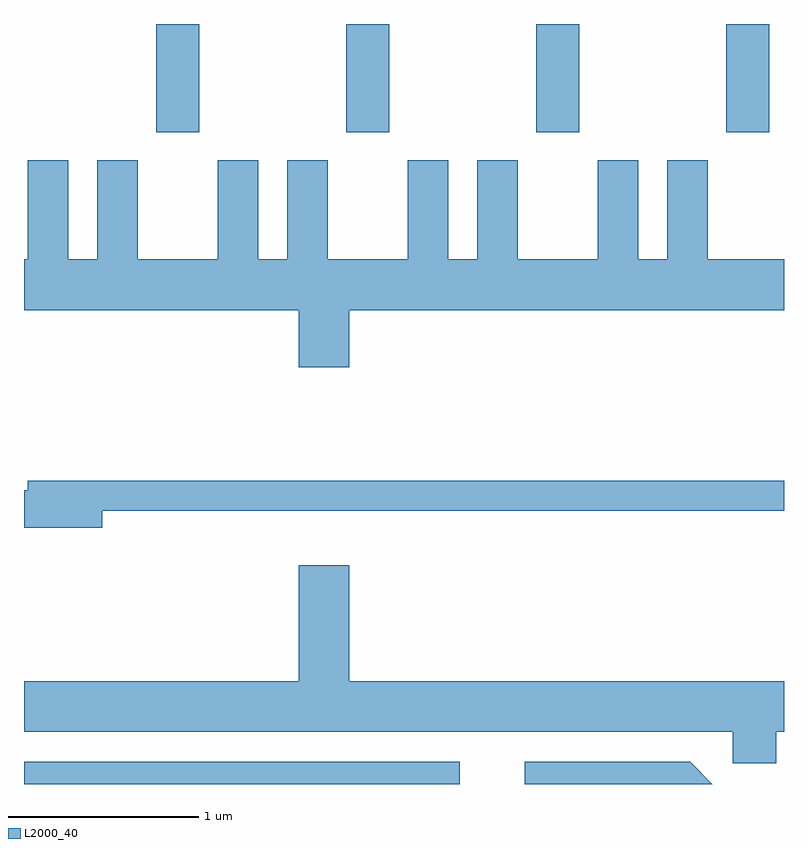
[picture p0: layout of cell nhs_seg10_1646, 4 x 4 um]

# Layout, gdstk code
import gdstk
lib = gdstk.Library(unit=1e-6, precision=1e-09)
def R(c, l, rs):  # rectangles x0, y0, x1, y1
    for r in rs: c.add(gdstk.rectangle(r[:2], r[2:], *l))
def A(c, l, x, y, w, h, nx, ny, dx, dy):  # array of equal rectangles
    R(c, l, [(x+i*dx, y+j*dy, x+i*dx+w, y+j*dy+h) for i in range(nx) for j in range(ny)])
def P(c, l, *ps):  # polygons
    for p in ps: c.add(gdstk.Polygon(p, *l))
L2000_40 = (2000, 40)

nhs_seg10_1646 = lib.new_cell('nhs_seg10_1646')
A(nhs_seg10_1646, L2000_40, 234.306, 2125.951, 0.228, 0.571, 4, 1, 1, 0)
R(nhs_seg10_1646, L2000_40, [(233.611,2122.522,235.904,2122.639)])
P(nhs_seg10_1646, L2000_40, [(235.324,2125.016),(237.611,2125.016),(237.611,2125.284),(237.209,2125.284),(237.209,2125.804),(236.996,2125.804),(236.996,2125.284),(236.844,2125.284),(236.844,2125.804),(236.631,2125.804),(236.631,2125.284),(236.209,2125.284),(236.209,2125.804),(235.996,2125.804),(235.996,2125.284),(235.844,2125.284),(235.844,2125.804),(235.631,2125.804),(235.631,2125.284),(235.209,2125.284),(235.209,2125.804),(234.996,2125.804),(234.996,2125.284),(234.844,2125.284),(234.844,2125.804),(234.631,2125.804),(234.631,2125.284),(234.209,2125.284),(234.209,2125.804),(233.996,2125.804),(233.996,2125.284),(233.844,2125.284),(233.844,2125.804),(233.631,2125.804),(233.631,2125.284),(233.611,2125.284),(233.611,2125.016),(235.056,2125.016),(235.056,2124.716),(235.324,2124.716)],
  [(234.024,2123.961),(237.611,2123.961),(237.611,2124.119),(233.631,2124.119),(233.631,2124.069),(233.611,2124.069),(233.611,2123.871),(234.024,2123.871)],
  [(237.569,2122.796),(237.611,2122.796),(237.611,2123.064),(235.324,2123.064),(235.324,2123.674),(235.056,2123.674),(235.056,2123.064),(233.611,2123.064),(233.611,2122.796),(237.341,2122.796),(237.341,2122.631),(237.569,2122.631)],
  [(237.117,2122.639),(236.246,2122.639),(236.246,2122.522),(237.234,2122.522)])

lib.write_gds('nhs_seg10_1646.gds')
